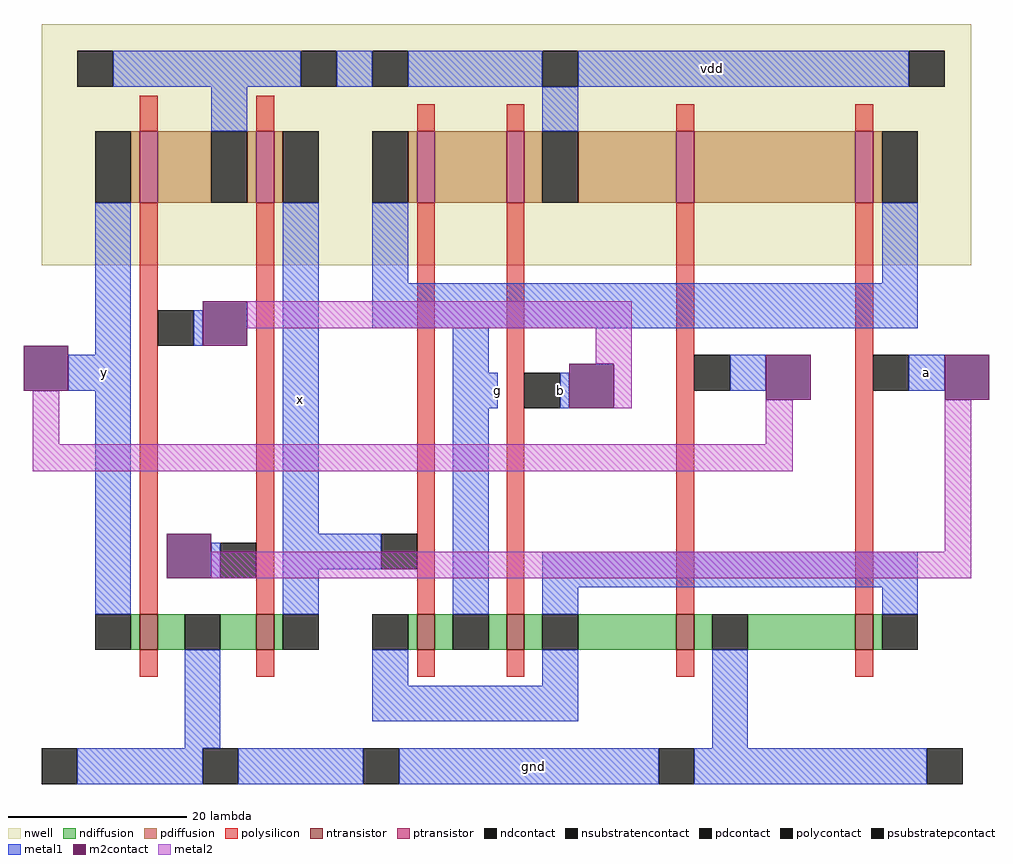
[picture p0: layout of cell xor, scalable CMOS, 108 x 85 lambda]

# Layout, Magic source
magic
tech scmos
<< nwell >>
rect -58 0 46 27
<< ntransistor >>
rect -47 -43 -45 -39
rect -34 -43 -32 -39
rect -16 -43 -14 -39
rect -6 -43 -4 -39
rect 13 -43 15 -39
rect 33 -43 35 -39
<< ptransistor >>
rect -47 7 -45 15
rect -34 7 -32 15
rect -16 7 -14 15
rect -6 7 -4 15
rect 13 7 15 15
rect 33 7 35 15
<< ndiffusion >>
rect -48 -43 -47 -39
rect -45 -43 -42 -39
rect -38 -43 -34 -39
rect -32 -43 -31 -39
rect -17 -43 -16 -39
rect -14 -43 -12 -39
rect -8 -43 -6 -39
rect -4 -43 -2 -39
rect 2 -43 13 -39
rect 15 -43 17 -39
rect 21 -43 33 -39
rect 35 -43 36 -39
<< pdiffusion >>
rect -48 7 -47 15
rect -45 7 -39 15
rect -35 7 -34 15
rect -32 7 -31 15
rect -17 7 -16 15
rect -14 7 -6 15
rect -4 7 -2 15
rect 2 7 13 15
rect 15 7 33 15
rect 35 7 36 15
<< ndcontact >>
rect -52 -43 -48 -39
rect -42 -43 -38 -39
rect -31 -43 -27 -39
rect -21 -43 -17 -39
rect -12 -43 -8 -39
rect -2 -43 2 -39
rect 17 -43 21 -39
rect 36 -43 40 -39
<< pdcontact >>
rect -52 7 -48 15
rect -39 7 -35 15
rect -31 7 -27 15
rect -21 7 -17 15
rect -2 7 2 15
rect 36 7 40 15
<< psubstratepcontact >>
rect -58 -58 -54 -54
rect -40 -58 -36 -54
rect -22 -58 -18 -54
rect 11 -58 15 -54
rect 41 -58 45 -54
<< nsubstratencontact >>
rect -54 20 -50 24
rect -29 20 -25 24
rect -21 20 -17 24
rect -2 20 2 24
rect 39 20 43 24
<< polysilicon >>
rect -47 15 -45 19
rect -34 15 -32 19
rect -16 15 -14 18
rect -6 15 -4 18
rect 13 15 15 18
rect 33 15 35 18
rect -47 -39 -45 7
rect -34 -39 -32 7
rect -16 -39 -14 7
rect -6 -39 -4 7
rect 13 -39 15 7
rect 33 -39 35 7
rect -47 -46 -45 -43
rect -34 -46 -32 -43
rect -16 -46 -14 -43
rect -6 -46 -4 -43
rect 13 -46 15 -43
rect 33 -46 35 -43
<< polycontact >>
rect -45 -9 -41 -5
rect -38 -35 -34 -31
rect -20 -34 -16 -30
rect -4 -16 0 -12
rect 15 -14 19 -10
rect 35 -14 39 -10
<< metal1 >>
rect -50 20 -29 24
rect -25 20 -21 24
rect -17 20 -2 24
rect 2 20 39 24
rect -39 15 -35 20
rect -2 15 2 20
rect -52 -10 -48 7
rect -41 -9 -40 -5
rect -55 -14 -48 -10
rect -52 -39 -48 -14
rect -31 -30 -27 7
rect -21 -2 -17 7
rect 36 -2 40 7
rect -21 -7 40 -2
rect -12 -12 -8 -7
rect -12 -16 -7 -12
rect 0 -16 1 -12
rect 19 -14 23 -10
rect 39 -14 43 -10
rect -39 -35 -38 -31
rect -31 -34 -20 -30
rect -31 -39 -27 -34
rect -12 -39 -8 -16
rect -2 -36 40 -32
rect -2 -39 2 -36
rect 36 -39 40 -36
rect -42 -54 -38 -43
rect -21 -47 -17 -43
rect -2 -47 2 -43
rect -21 -51 2 -47
rect 17 -54 21 -43
rect -54 -58 -40 -54
rect -36 -58 -22 -54
rect -18 -58 11 -54
rect 15 -58 41 -54
<< m2contact >>
rect -60 -14 -55 -9
rect -40 -9 -35 -4
rect 1 -16 6 -11
rect 23 -15 28 -10
rect 43 -15 48 -10
rect -44 -35 -39 -30
<< metal2 >>
rect -35 -7 8 -4
rect 4 -11 8 -7
rect -59 -20 -56 -14
rect 6 -16 8 -11
rect 23 -20 26 -15
rect -59 -23 26 -20
rect 43 -32 46 -15
rect -39 -35 46 -32
<< labels >>
rlabel metal1 17 22 17 22 5 vdd
rlabel metal1 41 -14 41 -10 7 a
rlabel metal1 0 -16 0 -12 1 b
rlabel metal1 -3 -56 -3 -56 1 gnd
rlabel metal1 -7 -16 -7 -12 1 g
rlabel metal1 -51 -12 -51 -12 1 y
rlabel metal1 -29 -15 -29 -15 1 x
<< end >>
